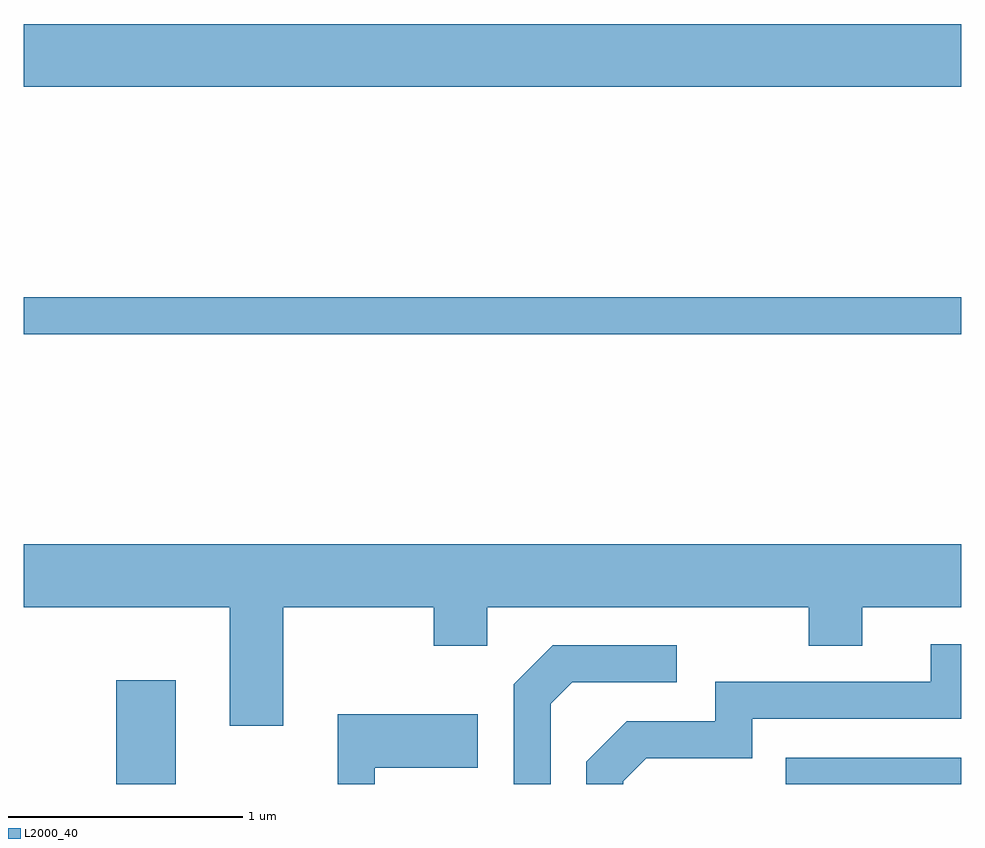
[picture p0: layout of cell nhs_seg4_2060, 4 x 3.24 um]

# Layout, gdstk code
import gdstk
lib = gdstk.Library(unit=1e-6, precision=1e-09)
def R(c, l, rs):  # rectangles x0, y0, x1, y1
    for r in rs: c.add(gdstk.rectangle(r[:2], r[2:], *l))
def P(c, l, *ps):  # polygons
    for p in ps: c.add(gdstk.Polygon(p, *l))
L2000_40 = (2000, 40)

nhs_seg4_2060 = lib.new_cell('nhs_seg4_2060')
R(nhs_seg4_2060, L2000_40, [(246.006,1293.982,246.259,1294.424), (248.863,1293.982,249.611,1294.094), (245.611,1295.901,249.611,1296.059), (245.611,1296.956,249.611,1297.224)])
P(nhs_seg4_2060, L2000_40, [(246.719,1294.736),(247.361,1294.736),(247.361,1294.571),(247.589,1294.571),(247.589,1294.736),(248.961,1294.736),(248.961,1294.571),(249.189,1294.571),(249.189,1294.736),(249.611,1294.736),(249.611,1295.004),(245.611,1295.004),(245.611,1294.736),(246.491,1294.736),(246.491,1294.231),(246.719,1294.231)],
  [(248.169,1293.994),(248.267,1294.091),(248.719,1294.091),(248.719,1294.261),(249.611,1294.261),(249.611,1294.579),(249.481,1294.579),(249.481,1294.419),(248.561,1294.419),(248.561,1294.249),(248.184,1294.249),(248.011,1294.077),(248.011,1293.982),(248.169,1293.982)],
  [(247.859,1294.324),(247.952,1294.416),(248.398,1294.416),(248.398,1294.574),(247.869,1294.574),(247.701,1294.407),(247.701,1293.982),(247.859,1293.982)],
  [(247.109,1294.051),(247.549,1294.051),(247.549,1294.279),(246.951,1294.279),(246.951,1293.982),(247.109,1293.982)])

lib.write_gds('nhs_seg4_2060.gds')
